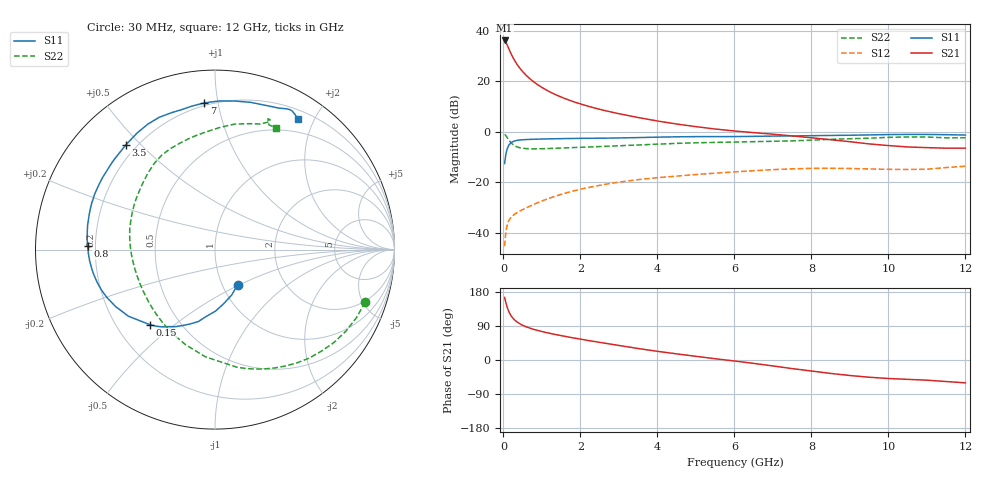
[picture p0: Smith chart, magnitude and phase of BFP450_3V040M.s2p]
! (c) 2010  Infineon Technologies AG, Munich
! Infineon Technologies  Discrete & RF Semiconductors
! BFP450
! VCE =  3.0 V,  IC =  40 mA
! Common Emitter S-Parameters:  Sep 2010
# GHz  S  MA  R  50
!  f  S11  S21  S12  S22
! GHz  MAG  ANG  MAG  ANG  MAG  ANG  MAG  ANG
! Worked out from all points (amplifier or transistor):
!   58 points, 30 MHz to 12 GHz, reference 50 ohm
!   highest |S21| = 36.2 dB at 30 MHz (marker M1)
!   |S21| within 3 dB of that: start of sweep to 130.9 MHz
!   unconditionally stable (mu >= 1): 1.283 GHz to end of sweep
!   at 120 MHz: K = 0.27, MSG = 34.8 dB, |S12| = -36.0 dB
!   at 1.5 GHz: K = 1.03, MAG = 18.1 dB, |S12| = -24.8 dB
!   at 12 GHz: K = 1.09, MAG = 1.7 dB, |S12| = -13.6 dB
!   lowest NFmin = 1.41 dB at 450 MHz
!   S11 on the Smith chart (normalised r, x): 30 MHz: 1.18, -0.49; 150 MHz: 0.34, -0.41; 800 MHz: 0.17, +0.01; 3.5 GHz: 0.16, +0.45; 7 GHz: 0.18, +0.91; 12 GHz: 0.32, +1.78
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0.03  0.2335 -57.5  64.36 165.3  0.0054 76.0  0.8866 -19.3
0.05  0.3058 -81.0  61.69 156.4  0.0083 71.4  0.8597 -31.8
0.07  0.3754 -97.4  57.75 148.3  0.0111 64.4  0.8203 -43.5
0.08  0.411 -103.0  55.8 145.0  0.0123 62.8  0.8006 -49.0
0.11  0.4826 -117.2  49.59 135.5  0.0152 56.6  0.7377 -63.4
0.15  0.5538 -131.0  42.21 125.6  0.0179 51.2  0.6664 -79.5
0.2  0.6086 -142.4  34.74 116.5  0.0203 47.0  0.5998 -95.1
0.25  0.6383 -150.2  29.29 110.0  0.022 45.0  0.5543 -107.3
0.3  0.659 -156.2  25.06 104.7  0.0235 44.3  0.5232 -117.1
0.35  0.6725 -160.7  21.81 100.7  0.0248 44.1  0.5021 -125.1
0.5  0.6935 -170.3  15.49 91.6  0.0286 45.3  0.4703 -142.1
0.6  0.7012 -174.8  12.89 87.2  0.0312 46.4  0.4622 -150.0
0.8  0.7102 178.5  9.557 80.4  0.0367 48.5  0.4581 -161.5
1.3  0.7244 166.8  5.681 68.3  0.0513 50.0  0.4688 -179.3
2.2  0.7413 150.5  3.202 51.5  0.0782 44.9  0.4978 160.0
3.5  0.7657 130.6  1.911 30.3  0.1124 32.1  0.5462 137.6
4.5  0.7929 118.2  1.421 16.2  0.1321 22.4  0.5877 125.1
6.5  0.8094 99.3  0.96 -8.9  0.1689 3.3  0.6358 103.1
7  0.8196 94.2  0.893 -15.7  0.1774 -2.2  0.6461 98.7
8.5  0.8442 76.3  0.695 -35.4  0.1889 -19.4  0.7078 81.1
10.5  0.8848 61.9  0.499 -51.1  0.1788 -33.4  0.7865 67.0
12  0.8604 57.5  0.473 -60.3  0.2079 -40.6  0.7588 63.6
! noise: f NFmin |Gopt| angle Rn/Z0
0.45  1.41  0.49  -173  0.06
0.9  1.48  0.51  -169  0.07
1.9  1.59  0.57  -153  0.1
2.4  1.69  0.58  -145  0.12
